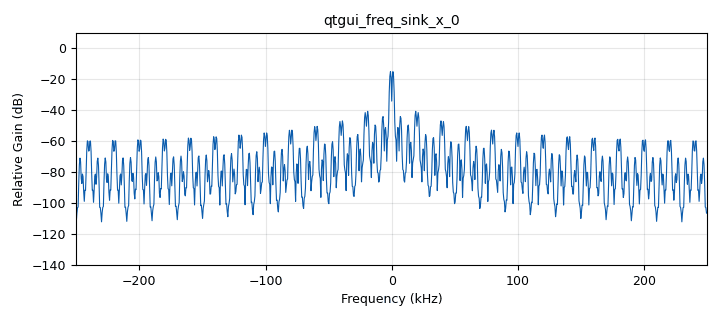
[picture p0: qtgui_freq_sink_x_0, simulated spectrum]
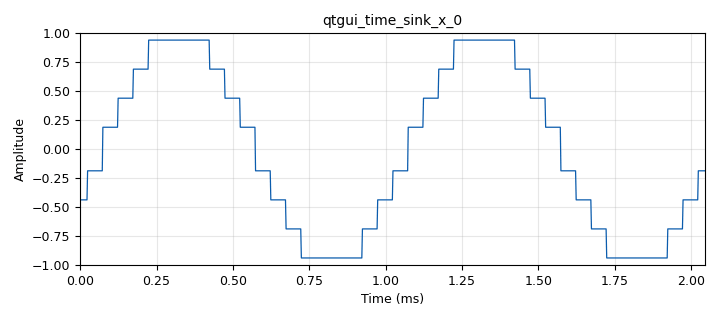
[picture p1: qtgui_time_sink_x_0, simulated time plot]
options:
  parameters:
    generate_options: qt_gui
    id: lab1_entregable
    output_language: python
    title: Not titled yet
  states: {}

blocks:
- name: A
  id: variable
  parameters:
    value: '1'
  states: {}
- name: M_p
  id: variable
  parameters:
    value: '1'
  states: {}
- name: N_bits
  id: variable
  parameters:
    value: '4'
  states: {}
- name: f_signal
  id: variable
  parameters:
    value: '1000'
  states: {}
- name: f_square
  id: variable
  parameters:
    value: '20000'
  states: {}
- name: samp_rate
  id: variable
  parameters:
    value: '500000'
  states: {}
- name: analog_sig_source_x_0
  id: analog_sig_source_x
  parameters:
    amp: A
    freq: f_signal
    offset: '0'
    phase: '0'
    samp_rate: samp_rate
    type: float
    waveform: analog.GR_SIN_WAVE
  states: {}
- name: analog_sig_source_x_0_0
  id: analog_sig_source_x
  parameters:
    amp: A
    freq: f_square
    offset: '0'
    phase: '0'
    samp_rate: samp_rate
    type: float
    waveform: analog.GR_SQR_WAVE
  states: {}
- name: blocks_divide_xx_1
  id: blocks_divide_xx
  parameters:
    type: float
  states: {}
- name: blocks_moving_average_xx_0
  id: blocks_moving_average_xx
  parameters:
    length: int(samp_rate/f_signal)
    max_iter: '4000'
    scale: 1/500
    type: float
  states: {}
- name: blocks_moving_average_xx_0_0
  id: blocks_moving_average_xx
  parameters:
    length: int(samp_rate/f_signal)
    max_iter: '4000'
    scale: 1/500
    type: float
  states: {}
- name: blocks_multiply_xx_0
  id: blocks_multiply_xx
  parameters:
    type: float
  states: {}
- name: blocks_multiply_xx_0_0
  id: blocks_multiply_xx
  parameters:
    type: float
  states: {}
- name: blocks_nlog10_ff_0
  id: blocks_nlog10_ff
  parameters:
    k: '0'
    n: '10'
  states: {}
- name: blocks_sub_xx_0
  id: blocks_sub_xx
  parameters:
    type: float
  states: {}
- name: epy_block_0
  id: epy_block
  parameters:
    _source_code: |
      import numpy as np
      from gnuradio import gr

      class blk(gr.sync_block):
          def __init__(self):
              gr.sync_block.__init__(
                  self,
                  name='Sampler',
                  in_sig=[np.float32, np.float32],
                  out_sig=[np.float32]
              )
              self.held_value = 0.0
              self.last_ctrl = 0.0

          def work(self, input_items, output_items):
              in_data = input_items[0]
              in_ctrl = input_items[1]
              out = output_items[0]

              for i in range(len(out)):
                  # Detecta el flanco de subida de la señal cuadrada para tomar una nueva muestra
                  if in_ctrl[i] > 0 and self.last_ctrl <= 0:
                      self.held_value = in_data[i]
                  self.last_ctrl = in_ctrl[i]
                  # Mantiene el valor retenido durante todo el periodo
                  out[i] = self.held_value

              return len(out)
  states: {}
- name: epy_block_1
  id: epy_block
  parameters:
    M_p: M_p
    N_bits: N_bits
    _source_code: |
      import numpy as np
      from gnuradio import gr

      class blk(gr.sync_block):
          def __init__(self, N_bits=4, M_p=1.0):
              gr.sync_block.__init__(
                  self,
                  name='Quantizer',
                  in_sig=[np.float32],
                  out_sig=[np.float32]
              )
              self.N_bits = N_bits
              self.M_p = M_p

          def work(self, input_items, output_items):
              in_data = input_items[0]
              out = output_items[0]

              L = 2**self.N_bits
              delta = (2.0 * self.M_p) / L

              # Limitar valor entre -M_p y M_p
              clipped = np.clip(in_data, -self.M_p, self.M_p)

              # Calcular nivel de cuantización punto medio
              indices = np.floor((clipped + self.M_p) / delta)
              indices = np.clip(indices, 0, L - 1)

              out[:] = -self.M_p + (indices + 0.5) * delta

              return len(out)
  states: {}
- name: qtgui_freq_sink_x_0
  id: qtgui_freq_sink_x
  parameters:
    bw: samp_rate
    fc: '0'
    fftsize: '1024'
    type: float
  states: {}
- name: qtgui_number_sink_0
  id: qtgui_number_sink
  parameters:
    alias: Potencia Seno Ps
    graph_type: qtgui.NUM_GRAPH_HORIZ
    label1: Potencia Seno Ps
    type: float
  states: {}
- name: qtgui_number_sink_0_0
  id: qtgui_number_sink
  parameters:
    alias: Potencia Ruido Pn
    graph_type: qtgui.NUM_GRAPH_HORIZ
    label1: Potencia Ruido Pn
    type: float
  states: {}
- name: qtgui_number_sink_1
  id: qtgui_number_sink
  parameters:
    alias: SNR dB
    graph_type: qtgui.NUM_GRAPH_HORIZ
    label1: SNR dB
    type: float
  states: {}
- name: qtgui_time_sink_x_0
  id: qtgui_time_sink_x
  parameters:
    size: '1024'
    srate: samp_rate
    type: float
  states: {}

connections:
- [analog_sig_source_x_0, '0', blocks_multiply_xx_0, '0']
- [analog_sig_source_x_0, '0', blocks_multiply_xx_0, '1']
- [analog_sig_source_x_0, '0', epy_block_0, '0']
- [analog_sig_source_x_0_0, '0', epy_block_0, '1']
- [blocks_divide_xx_1, '0', blocks_nlog10_ff_0, '0']
- [blocks_moving_average_xx_0, '0', blocks_divide_xx_1, '0']
- [blocks_moving_average_xx_0, '0', qtgui_number_sink_0, '0']
- [blocks_moving_average_xx_0_0, '0', blocks_divide_xx_1, '1']
- [blocks_moving_average_xx_0_0, '0', qtgui_number_sink_0_0, '0']
- [blocks_multiply_xx_0, '0', blocks_moving_average_xx_0, '0']
- [blocks_multiply_xx_0_0, '0', blocks_moving_average_xx_0_0, '0']
- [blocks_nlog10_ff_0, '0', qtgui_number_sink_1, '0']
- [blocks_sub_xx_0, '0', blocks_multiply_xx_0_0, '0']
- [blocks_sub_xx_0, '0', blocks_multiply_xx_0_0, '1']
- [epy_block_0, '0', blocks_sub_xx_0, '0']
- [epy_block_0, '0', epy_block_1, '0']
- [epy_block_1, '0', blocks_sub_xx_0, '1']
- [epy_block_1, '0', qtgui_freq_sink_x_0, '0']
- [epy_block_1, '0', qtgui_time_sink_x_0, '0']

metadata:
  file_format: 1
  grc_version: 3.10.9.2
